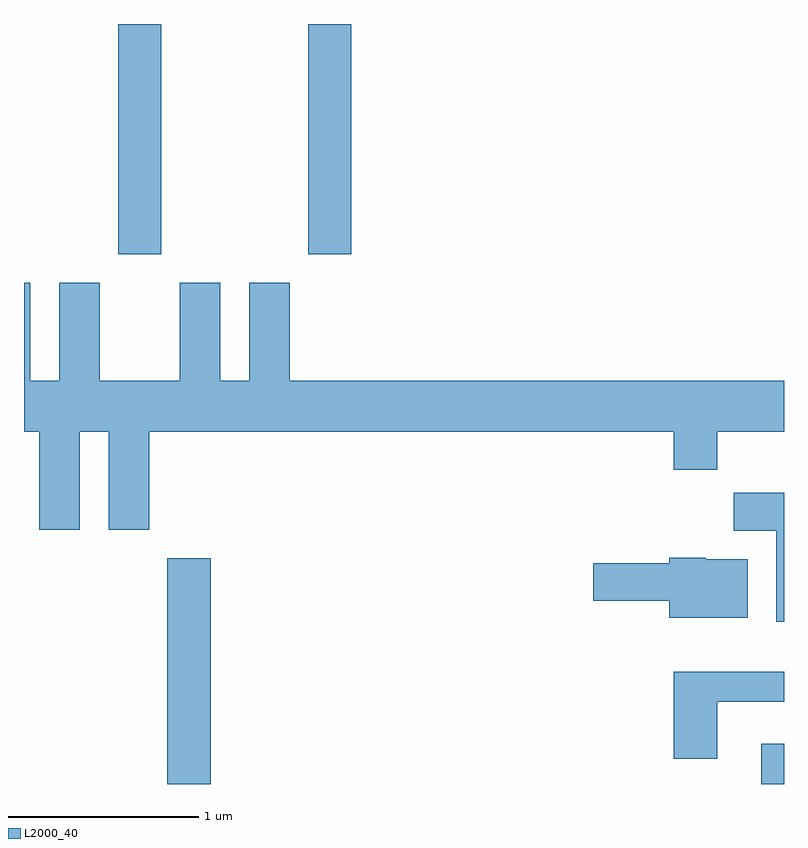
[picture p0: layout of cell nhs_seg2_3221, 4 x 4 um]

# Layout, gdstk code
import gdstk
lib = gdstk.Library(unit=1e-6, precision=1e-09)
def R(c, l, rs):  # rectangles x0, y0, x1, y1
    for r in rs: c.add(gdstk.rectangle(r[:2], r[2:], *l))
def P(c, l, *ps):  # polygons
    for p in ps: c.add(gdstk.Polygon(p, *l))
L2000_40 = (2000, 40)

nhs_seg2_3221 = lib.new_cell('nhs_seg2_3221')
R(nhs_seg2_3221, L2000_40, [(280.366,1039.802,280.594,1040.989), (283.491,1039.802,283.611,1040.014), (280.106,1042.591,280.334,1043.802), (281.106,1042.591,281.334,1043.802)])
P(nhs_seg2_3221, L2000_40, [(279.904,1041.656),(280.056,1041.656),(280.056,1041.141),(280.269,1041.141),(280.269,1041.656),(283.031,1041.656),(283.031,1041.456),(283.259,1041.456),(283.259,1041.656),(283.611,1041.656),(283.611,1041.924),(281.009,1041.924),(281.009,1042.439),(280.796,1042.439),(280.796,1041.924),(280.644,1041.924),(280.644,1042.439),(280.431,1042.439),(280.431,1041.924),(280.009,1041.924),(280.009,1042.439),(279.796,1042.439),(279.796,1041.924),(279.644,1041.924),(279.644,1042.439),(279.611,1042.439),(279.611,1041.656),(279.691,1041.656),(279.691,1041.141),(279.904,1041.141)],
  [(283.611,1041.334),(283.346,1041.334),(283.346,1041.136),(283.571,1041.136),(283.571,1040.656),(283.611,1040.656)],
  [(283.419,1040.984),(283.2,1040.984),(283.2,1040.994),(283.006,1040.994),(283.006,1040.964),(282.606,1040.964),(282.606,1040.766),(283.006,1040.766),(283.006,1040.676),(283.419,1040.676)],
  [(283.259,1040.236),(283.611,1040.236),(283.611,1040.394),(283.031,1040.394),(283.031,1039.936),(283.259,1039.936)])

lib.write_gds('nhs_seg2_3221.gds')
